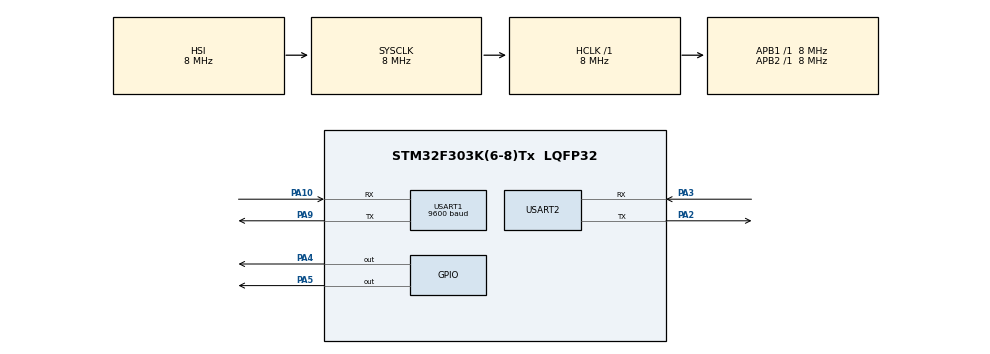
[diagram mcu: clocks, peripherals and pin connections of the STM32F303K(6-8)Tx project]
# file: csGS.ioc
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Dma.Request0=USART1_RX
Dma.USART1_RX.0.Direction=DMA_PERIPH_TO_MEMORY
Dma.USART1_RX.0.Instance=DMA1_Channel5
Dma.USART1_RX.0.MemDataAlignment=DMA_MDATAALIGN_BYTE
Dma.USART1_RX.0.MemInc=DMA_MINC_ENABLE
Dma.USART1_RX.0.Mode=DMA_NORMAL
Dma.USART1_RX.0.PeriphDataAlignment=DMA_PDATAALIGN_BYTE
Dma.USART1_RX.0.PeriphInc=DMA_PINC_DISABLE
Dma.USART1_RX.0.Priority=DMA_PRIORITY_LOW
Mcu.Family=STM32F3
Mcu.Name=STM32F303K(6-8)Tx
Mcu.Package=LQFP32
NVIC.DMA1_Channel5_IRQn=true\:0\:0\:false\:false\:true\:false\:true\:true
NVIC.PriorityGroup=NVIC_PRIORITYGROUP_4
NVIC.USART1_IRQn=true\:0\:0\:false\:false\:true\:true\:true\:true
PA10.Mode=Asynchronous
PA10.Signal=USART1_RX
PA13.GPIO_Label=SWDIO
PA13.Mode=Serial_Wire
PA13.Signal=SYS_JTMS-SWDIO
PA14.GPIO_Label=SWCLK
PA14.Mode=Serial_Wire
PA14.Signal=SYS_JTCK-SWCLK
PA2.Mode=Asynchronous
PA2.Signal=USART2_TX
PA3.Mode=Asynchronous
PA3.Signal=USART2_RX
PA4.Signal=GPIO_Output
PA5.Signal=GPIO_Output
PA9.Mode=Asynchronous
PA9.Signal=USART1_TX
PF0\ /\ OSC_IN.GPIO_Label=MCO
PF0\ /\ OSC_IN.Mode=HSE-External-Clock-Source
PF0\ /\ OSC_IN.Signal=RCC_OSC_IN
ProjectManager.HeapSize=0x200
ProjectManager.StackSize=0x400
ProjectManager.TargetToolchain=STM32CubeIDE
RCC.AHBFreq_Value=8000000
RCC.APB1Freq_Value=8000000
RCC.APB2Freq_Value=8000000
RCC.CortexFreq_Value=8000000
RCC.HSE_VALUE=8000000
RCC.HSI_VALUE=8000000
RCC.SYSCLKFreq_VALUE=8000000
USART1.BaudRate=9600
USART1.VirtualMode-Asynchronous=VM_ASYNC
USART2.VirtualMode-Asynchronous=VM_ASYNC
board=NUCLEO-F303K8

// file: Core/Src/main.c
/* USER CODE BEGIN Header */
/**
  ******************************************************************************
  * @file           : main.c
  * @brief          : Main program body
  ******************************************************************************
  * @attention
  *
  * Copyright (c) 2026 STMicroelectronics.
  * All rights reserved.
  *
  * This software is licensed under terms that can be found in the LICENSE file
  * in the root directory of this software component.
  * If no LICENSE file comes with this software, it is provided AS-IS.
  *
  ******************************************************************************
  */
/* USER CODE END Header */
#include "main.h"

/* USER CODE BEGIN Includes */
#include <stdio.h>
#include <string.h>
#include <stdbool.h>
#include <math.h>
#include "loraLib.h"
/* USER CODE END Includes */

UART_HandleTypeDef huart1;
UART_HandleTypeDef huart2;
DMA_HandleTypeDef hdma_usart1_rx;

/* USER CODE BEGIN PV */
uint32_t lastPacketTime = 0;

char txGSBuffer[256];
uint8_t packetCRC;

#pragma pack(1)
typedef struct {
	float enlem;
	float boylam;
	float gpsIrtifa;
    int uyduSayisi;
    float irtifa;
    float basinc;
    int saat;
    int dakika;
    int saniye;
    float Ax;
    float Ay;
    float Az;
    float Gx;
    float Gy;
    float Gz;
    float angleX;
    float angleY;
    float angleZ;
    float SCVoltage;
    float SCCurrent;
    float CCVoltage;
    float CCCurrent;
    float COMMCVoltage;
    float COMMCCurrent;
} SensorData;
#pragma pack()

uint8_t buffer[256];
SensorData receivedData;
/* USER CODE END PV */

void SystemClock_Config(void);
static void MX_GPIO_Init(void);
static void MX_DMA_Init(void);
static void MX_USART2_UART_Init(void);
static void MX_USART1_UART_Init(void);

/* USER CODE BEGIN 0 */
void packCSDatas(void){
	sprintf(txGSBuffer,
	        "%f*%f*%.2f*%d*%.2f*%.2f*"
	        "%d*%d*%d*"
	        "%.2f*%.2f*%.2f*"
	        "%.2f*%.2f*%.2f*"
	        "%.2f*%.2f*%.2f"
			"%.2f*%.2f*%.2f*%.2f*%.2f*%.2f"
			"CCCC\n",

			receivedData.enlem,
			receivedData.boylam,
			receivedData.gpsIrtifa,
			receivedData.uyduSayisi,
			receivedData.irtifa,
			receivedData.basinc,

			receivedData.saat,
			receivedData.dakika,
			receivedData.saniye,

			receivedData.Ax,
			receivedData.Ay,
			receivedData.Az,

			receivedData.Gx,
			receivedData.Gy,
			receivedData.Gz,

			receivedData.angleX,
			receivedData.angleY,
			receivedData.angleZ,
			receivedData.SCVoltage,
			receivedData.SCCurrent,
			receivedData.CCVoltage,
			receivedData.CCCurrent,
			receivedData.COMMCVoltage,
			receivedData.COMMCCurrent
	);
}

unsigned char checkSumCalc(void *data, size_t size){
    int checkSum = 0;

    uint8_t buffer[size];
    memcpy(buffer, data, size);

    for(int i = 0; i < size; i++){
    	checkSum += buffer[i];
    }

    return (unsigned char) (checkSum % 256);
}

int aabb;
uint32_t sayac;

void HAL_UARTEx_RxEventCallback(UART_HandleTypeDef *huart, uint16_t Size) {
	HAL_GPIO_TogglePin(GPIOB, GPIO_PIN_3);
	sayac++;
	lastPacketTime = HAL_GetTick();

	if (buffer[0] == 0xAA) {
		packetCRC = checkSumCalc(&buffer, Size - 2);

		if (packetCRC == buffer[Size - 2] && buffer[0] == 0xAA && buffer[Size - 1] == 0x0D){
			memcpy(&receivedData, buffer + 1, sizeof(SensorData));

		    packCSDatas();

		    HAL_UART_Transmit(&huart2, txGSBuffer, strlen(txGSBuffer), HAL_MAX_DELAY);

			HAL_UARTEx_ReceiveToIdle_DMA(&huart1, buffer, 256);
			__HAL_DMA_DISABLE_IT(&hdma_usart1_rx, DMA_IT_HT);
		}
	}
}
/* USER CODE END 0 */

int main(void)
{

  /* MCU Configuration--------------------------------------------------------*/

  /* Reset of all peripherals, Initializes the Flash interface and the Systick. */
  HAL_Init();

  /* Configure the system clock */
  SystemClock_Config();

  /* Initialize all configured peripherals */
  MX_GPIO_Init();
  MX_DMA_Init();
  MX_USART2_UART_Init();
  MX_USART1_UART_Init();
  /* USER CODE BEGIN 2 */
  LoraConfigure();
  lastPacketTime = HAL_GetTick();
  HAL_UARTEx_ReceiveToIdle_DMA(&huart1, buffer, 256);
  __HAL_DMA_DISABLE_IT(&hdma_usart1_rx, DMA_IT_HT);
  /* USER CODE END 2 */

  /* Infinite loop */
  /* USER CODE BEGIN WHILE */
  while (1)
  {
	  if ((HAL_GetTick() - lastPacketTime) > 5000) {
		  NVIC_SystemReset();
	  }
    /* USER CODE END WHILE */

  }
}

void SystemClock_Config(void)
{
  RCC_OscInitTypeDef RCC_OscInitStruct = {0};
  RCC_ClkInitTypeDef RCC_ClkInitStruct = {0};
  RCC_PeriphCLKInitTypeDef PeriphClkInit = {0};

  /** Initializes the RCC Oscillators according to the specified parameters
  * in the RCC_OscInitTypeDef structure.
  */
  RCC_OscInitStruct.OscillatorType = RCC_OSCILLATORTYPE_HSI;
  RCC_OscInitStruct.HSIState = RCC_HSI_ON;
  RCC_OscInitStruct.HSICalibrationValue = RCC_HSICALIBRATION_DEFAULT;
  RCC_OscInitStruct.PLL.PLLState = RCC_PLL_NONE;
  if (HAL_RCC_OscConfig(&RCC_OscInitStruct) != HAL_OK)
  {
    Error_Handler();
  }

  /** Initializes the CPU, AHB and APB buses clocks
  */
  RCC_ClkInitStruct.ClockType = RCC_CLOCKTYPE_HCLK|RCC_CLOCKTYPE_SYSCLK
                              |RCC_CLOCKTYPE_PCLK1|RCC_CLOCKTYPE_PCLK2;
  RCC_ClkInitStruct.SYSCLKSource = RCC_SYSCLKSOURCE_HSI;
  RCC_ClkInitStruct.AHBCLKDivider = RCC_SYSCLK_DIV1;
  RCC_ClkInitStruct.APB1CLKDivider = RCC_HCLK_DIV1;
  RCC_ClkInitStruct.APB2CLKDivider = RCC_HCLK_DIV1;

  if (HAL_RCC_ClockConfig(&RCC_ClkInitStruct, FLASH_LATENCY_0) != HAL_OK)
  {
    Error_Handler();
  }
  PeriphClkInit.PeriphClockSelection = RCC_PERIPHCLK_USART1;
  PeriphClkInit.Usart1ClockSelection = RCC_USART1CLKSOURCE_PCLK1;
  if (HAL_RCCEx_PeriphCLKConfig(&PeriphClkInit) != HAL_OK)
  {
    Error_Handler();
  }
}

static void MX_USART1_UART_Init(void)
{

  huart1.Instance = USART1;
  huart1.Init.BaudRate = 9600;
  huart1.Init.WordLength = UART_WORDLENGTH_8B;
  huart1.Init.StopBits = UART_STOPBITS_1;
  huart1.Init.Parity = UART_PARITY_NONE;
  huart1.Init.Mode = UART_MODE_TX_RX;
  huart1.Init.HwFlowCtl = UART_HWCONTROL_NONE;
  huart1.Init.OverSampling = UART_OVERSAMPLING_16;
  huart1.Init.OneBitSampling = UART_ONE_BIT_SAMPLE_DISABLE;
  huart1.AdvancedInit.AdvFeatureInit = UART_ADVFEATURE_NO_INIT;
  if (HAL_UART_Init(&huart1) != HAL_OK)
  {
    Error_Handler();
  }

}

static void MX_USART2_UART_Init(void)
{

  huart2.Instance = USART2;
  huart2.Init.BaudRate = 38400;
  huart2.Init.WordLength = UART_WORDLENGTH_8B;
  huart2.Init.StopBits = UART_STOPBITS_1;
  huart2.Init.Parity = UART_PARITY_NONE;
  huart2.Init.Mode = UART_MODE_TX_RX;
  huart2.Init.HwFlowCtl = UART_HWCONTROL_NONE;
  huart2.Init.OverSampling = UART_OVERSAMPLING_16;
  huart2.Init.OneBitSampling = UART_ONE_BIT_SAMPLE_DISABLE;
  huart2.AdvancedInit.AdvFeatureInit = UART_ADVFEATURE_NO_INIT;
  if (HAL_UART_Init(&huart2) != HAL_OK)
  {
    Error_Handler();
  }

}

static void MX_DMA_Init(void)
{

  /* DMA controller clock enable */
  __HAL_RCC_DMA1_CLK_ENABLE();

  /* DMA interrupt init */
  /* DMA1_Channel5_IRQn interrupt configuration */
  HAL_NVIC_SetPriority(DMA1_Channel5_IRQn, 0, 0);
  HAL_NVIC_EnableIRQ(DMA1_Channel5_IRQn);

}

static void MX_GPIO_Init(void)
{
  GPIO_InitTypeDef GPIO_InitStruct = {0};

  /* GPIO Ports Clock Enable */
  __HAL_RCC_GPIOF_CLK_ENABLE();
  __HAL_RCC_GPIOA_CLK_ENABLE();

  /*Configure GPIO pin Output Level */
  HAL_GPIO_WritePin(GPIOA, GPIO_PIN_4|GPIO_PIN_5, GPIO_PIN_RESET);

  /*Configure GPIO pins : PA4 PA5 */
  GPIO_InitStruct.Pin = GPIO_PIN_4|GPIO_PIN_5;
  GPIO_InitStruct.Mode = GPIO_MODE_OUTPUT_PP;
  GPIO_InitStruct.Pull = GPIO_NOPULL;
  GPIO_InitStruct.Speed = GPIO_SPEED_FREQ_LOW;
  HAL_GPIO_Init(GPIOA, &GPIO_InitStruct);

}

void Error_Handler(void)
{
  __disable_irq();
  while (1)
  {
  }
}
